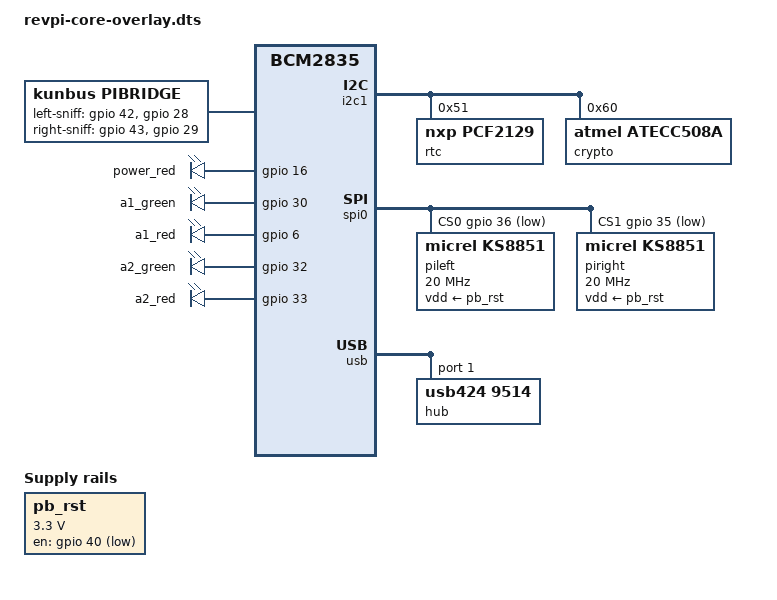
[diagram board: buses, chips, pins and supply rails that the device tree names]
/*
 * Device tree overlay for Revolution Pi by KUNBUS
 *
 * RevPi Core
 * RevPi Core 3
 */

/dts-v1/;
/plugin/;
#include <dt-bindings/gpio/gpio.h>
#include <dt-bindings/pinctrl/bcm2835.h>

/{
	compatible = "brcm,bcm2835", "brcm,bcm2837";

	fragment@0 {
		target-path = "/";
		__overlay__ {
			compatible = "kunbus,revpi-core", "brcm,bcm2837",
				     "brcm,bcm2836", "brcm,bcm2835";

			pibridge {
				compatible = "kunbus,pibridge";
				/* Sniff pins 1A and 2A */
				left-sniff-gpios = <&gpio 42 GPIO_ACTIVE_HIGH>,
						   <&gpio 28 GPIO_ACTIVE_HIGH>;
				/* Sniff pins 1B and 2B */
				right-sniff-gpios = <&gpio 43 GPIO_ACTIVE_HIGH>,
						    <&gpio 29 GPIO_ACTIVE_HIGH>;
			};
			/*
			   The reset of the KSZ8851 used for the pibridge has a
			   circuit, which keeps it pulled for up to 80ms. To
			   workaroud this issue, a regulator is used. The
			   circuit implements a reset instead of a n_reset.
			*/
			pb_rst: regulator_pbrst {
				compatible = "regulator-fixed";
				pinctrl-names = "default";
				pinctrl-0 = <&eth1_2_reset_pins>;
				regulator-name = "pb_rst";
				regulator-min-microvolt = <3300000>;
				regulator-max-microvolt = <3300000>;
				gpio = <&gpio 40 GPIO_ACTIVE_LOW>;
				startup-delay-us = <80000>;
			};

			leds {
				compatible = "gpio-leds";
				power_red {
					gpios = <&gpio 16 GPIO_ACTIVE_HIGH>;
					linux,default-trigger = "power_red";
				};
				a1_green {
					gpios = <&gpio 30 GPIO_ACTIVE_HIGH>;
					linux,default-trigger = "a1_green";
				};
				a1_red {
					gpios = <&gpio  6 GPIO_ACTIVE_HIGH>;
					linux,default-trigger = "a1_red";
				};
				a2_green {
					gpios = <&gpio 32 GPIO_ACTIVE_HIGH>;
					linux,default-trigger = "a2_green";
				};
				a2_red {
					gpios = <&gpio 33 GPIO_ACTIVE_HIGH>;
					linux,default-trigger = "a2_red";
				};
				led-act {
					status = "disabled";
				};
			};
		};
	};

	fragment@1 {
		target = <&gpio>;
		__overlay__ {
			pinctrl-names = "default";
			pinctrl-0 = <&sniff_a_pins>;

			spi0_pins {
				/* miso mosi clock */
				brcm,pins     = <37 38 39>;
				brcm,function = <BCM2835_FSEL_ALT0>;
				brcm,pull     = <BCM2835_PUD_OFF>;
			};
			spi0_cs_pins {
				brcm,pins     = <36 35>;
				brcm,function = <BCM2835_FSEL_GPIO_OUT>;
				brcm,pull     = <BCM2835_PUD_OFF>;
			};
			eth1_2_reset_pins: eth1_2_reset_pins {
				/* resets both chips */
				brcm,pins     = <40>;
				brcm,function = <BCM2835_FSEL_GPIO_OUT>;
				brcm,pull     = <BCM2835_PUD_OFF>;
			};
			i2c1 {
				/* sda scl */
				brcm,pins     = <44 45>;
				brcm,function = <BCM2835_FSEL_ALT2>;
				brcm,pull     = <BCM2835_PUD_OFF>;
			};
			sniff_a_pins: pb_sniff_a_pins {
				/* A2 */
				brcm,pins     = <28>;
				brcm,function = <BCM2835_FSEL_GPIO_IN>;
				brcm,pull     = <BCM2835_PUD_DOWN>;
			};
		};
	};

	fragment@2 {
		target = <&i2c1>;
		__overlay__ {
			#address-cells = <1>;
			#size-cells = <0>;
			status = "okay";

			rtc@51 {
				compatible = "nxp,pcf2129";
				reg = <0x51>;
				status = "okay";
			};

			crypto@60 {
				compatible = "atmel,atecc508a";
				reg = <0x60>;
				status = "okay";
			};
		};
	};

	fragment@3 {
		target = <&spidev0>;
		__overlay__ {
			status = "disabled";
		};
	};

	fragment@4 {
		target = <&spidev1>;
		__overlay__ {
			status = "disabled";
		};
	};

	fragment@5 {
		target = <&spi0>;
		__overlay__ {
			cs-gpios = <&gpio 36 GPIO_ACTIVE_LOW>,
				   <&gpio 35 GPIO_ACTIVE_LOW>;
			#address-cells = <1>;
			#size-cells = <0>;
			status = "okay";

			pileft: ethernet@0 {
				/* PiBridge Ethernet left */
				compatible = "micrel,ks8851";
				reg = <0>;
				spi-max-frequency = <20000000>;	/* <= 40 MHz */
				interrupts = <0x80000000>;  /* not connected */
				vdd-supply = <&pb_rst>;
				status = "okay";
			};

			piright: ethernet@1 {
				/* PiBridge Ethernet right */
				compatible = "micrel,ks8851";
				reg = <1>;
				spi-max-frequency = <20000000>;	/* <= 40 MHz */
				interrupts = <0x80000000>;  /* not connected */
				vdd-supply = <&pb_rst>;
				status = "okay";
			};
		};
	};

	fragment@6 {
		target = <&usb>;
		__overlay__ {
			#address-cells = <1>;
			#size-cells = <0>;

			hub@1 {
				compatible = "usb424,9514"; /* SMSC LAN9514 */
				reg = <1>;
				#address-cells = <1>;
				#size-cells = <0>;

				eth0: ethernet@1 {
					compatible = "usb424,ec00";
					reg = <1>;
				};
			};
		};
	};

	__overrides__ {
		eth0_mac_hi = <&eth0>,"local-mac-address:0";
		eth0_mac_lo = <&eth0>,"local-mac-address;4";
		pileft_mac_hi = <&pileft>,"local-mac-address:0";
		pileft_mac_lo = <&pileft>,"local-mac-address;4";
		piright_mac_hi = <&piright>,"local-mac-address:0";
		piright_mac_lo = <&piright>,"local-mac-address;4";
	};
};
